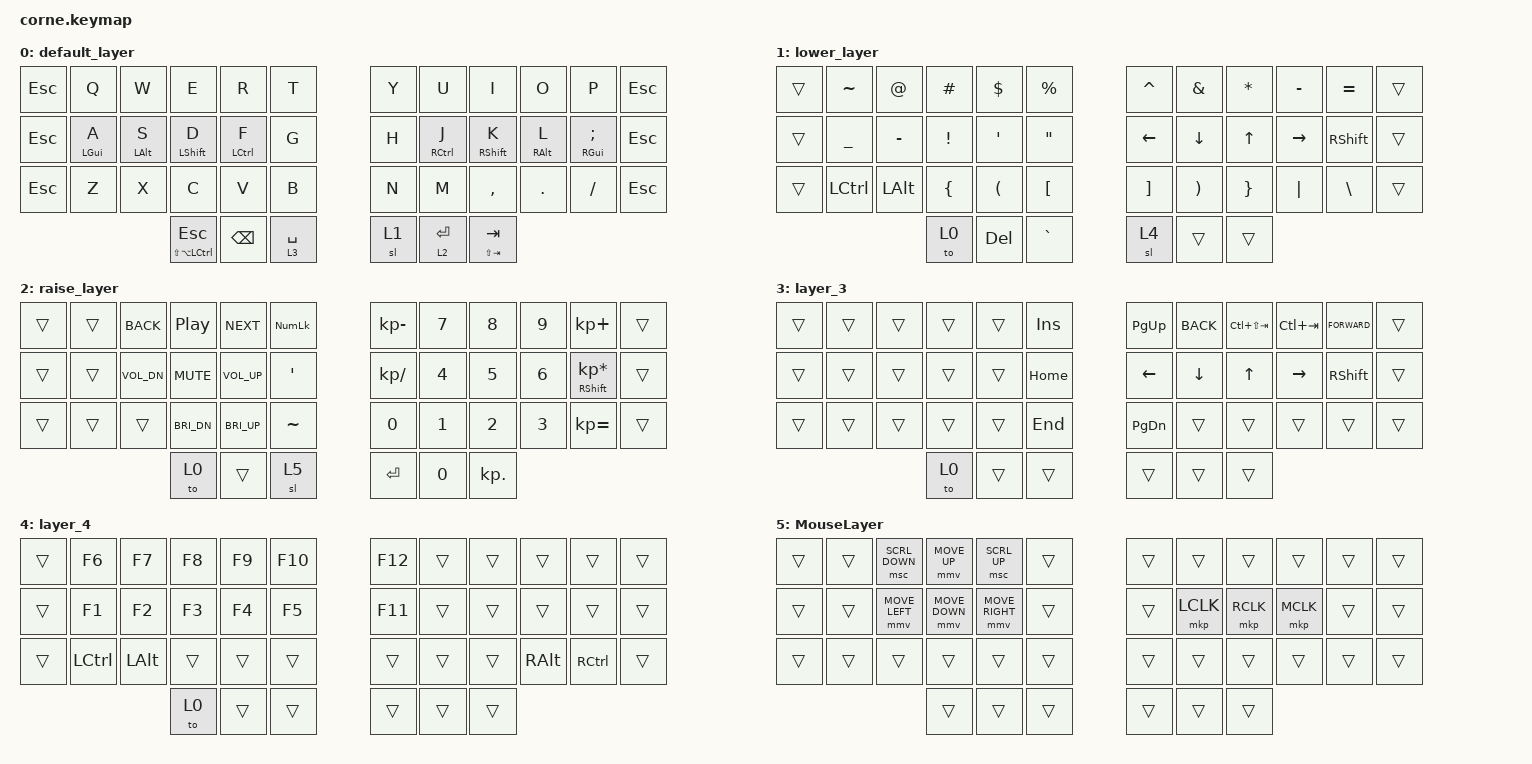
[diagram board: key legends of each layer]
/*
 * Copyright (c) 2020 The ZMK Contributors
 *
 * SPDX-License-Identifier: MIT
 */

#include <behaviors.dtsi>
#include <dt-bindings/zmk/keys.h>
#include <dt-bindings/zmk/pointing.h>

/ {
    behaviors {
        hm: homerow_mods {
            compatible = "zmk,behavior-hold-tap";
            label = "HOMEROW_MODS";
            #binding-cells = <2>;
            tapping-term-ms = <200>;
            quick-tap-ms = <0>;
            flavor = "tap-preferred";
            bindings = <&kp>, <&kp>;
        };
    };

    combos {
        compatible = "zmk,combos";

        EasyEscape {
            bindings = <&kp ESCAPE>;
            key-positions = <13 22>;
        };
    };

    keymap {
        compatible = "zmk,keymap";

        default_layer {
            // -----------------------------------------------------------------------------------------
            // |  TAB |  Q  |  W  |  E  |  R  |  T  |   |  Y  |  U   |  I  |  O  |  P  | BKSP |
            // | CTRL |  A  |  S  |  D  |  F  |  G  |   |  H  |  J   |  K  |  L  |  ;  |  '   |
            // | SHFT |  Z  |  X  |  C  |  V  |  B  |   |  N  |  M   |  ,  |  .  |  /  | ESC  |
            //                    | GUI | LWR | SPC |   | ENT | RSE  | ALT |

            bindings = <
&kp ESCAPE  &kp Q           &kp W           &kp E                            &kp R          &kp T          &kp Y  &kp U        &kp I              &kp O            &kp P                    &kp ESCAPE
&kp ESCAPE  &mt LEFT_GUI A  &mt LEFT_ALT S  &mt LEFT_SHIFT D                 &mt LCTRL F    &kp G          &kp H  &mt RCTRL J  &mt RIGHT_SHIFT K  &mt RIGHT_ALT L  &mt RIGHT_GUI SEMICOLON  &kp ESCAPE
&kp ESCAPE  &kp Z           &kp X           &kp C                            &kp V          &kp B          &kp N  &kp M        &kp COMMA          &kp PERIOD       &kp SLASH                &kp ESC
                                            &mt LS(LA(LEFT_CONTROL)) ESCAPE  &kp BACKSPACE  &lt 3 SPACE    &sl 1  &lt 2 ENTER  &mt LS(TAB) TAB
            >;
        };

        lower_layer {
            // -----------------------------------------------------------------------------------------
            // |  TAB |  1  |  2  |  3  |  4  |  5  |   |  6  |  7  |  8  |  9  |  0  | BKSP |
            // | BTCLR| BT1 | BT2 | BT3 | BT4 | BT5 |   | LFT | DWN |  UP | RGT |     |      |
            // | SHFT |     |     |     |     |     |   |     |     |     |     |     |      |
            //                    | GUI |     | SPC |   | ENT |     | ALT |

            bindings = <
&trans  &kp TILDE       &kp AT_SIGN  &kp HASH         &kp DOLLAR            &kp PERCENT          &kp CARET          &kp AMPERSAND          &kp ASTERISK     &kp MINUS  &kp EQUAL   &trans
&trans  &kp UNDERSCORE  &kp MINUS    &kp EXCLAMATION  &kp SQT               &kp DOUBLE_QUOTES    &kp LEFT           &kp DOWN               &kp UP           &kp RIGHT  &kp RSHIFT  &trans
&trans  &kp LCTRL       &kp LALT     &kp LEFT_BRACE   &kp LEFT_PARENTHESIS  &kp LEFT_BRACKET     &kp RIGHT_BRACKET  &kp RIGHT_PARENTHESIS  &kp RIGHT_BRACE  &kp PIPE   &kp BSLH    &trans
                                     &to 0            &kp DELETE            &kp GRAVE            &sl 4              &trans                 &trans
            >;
        };

        raise_layer {
            // -----------------------------------------------------------------------------------------
            // |  TAB |  !  |  @  |  #  |  $  |  %  |   |  ^  |  &  |  *  |  (  |  )  | BKSP |
            // | CTRL |     |     |     |     |     |   |  -  |  =  |  [  |  ]  |  \  |  `   |
            // | SHFT |     |     |     |     |     |   |  _  |  +  |  {  |  }  | "|" |  ~   |
            //                    | GUI |     | SPC |   | ENT |     | ALT |

            bindings = <
&trans  &trans  &kp K_BACK    &kp C_PP      &kp K_NEXT    &kp KP_NUMLOCK    &kp KP_MINUS  &kp N7  &kp N8      &kp N9  &kp KP_PLUS            &trans
&trans  &trans  &kp C_VOL_DN  &kp K_MUTE    &kp C_VOL_UP  &kp SQT           &kp KP_SLASH  &kp N4  &kp N5      &kp N6  &mt RSHFT KP_ASTERISK  &trans
&trans  &trans  &trans        &kp C_BRI_DN  &kp C_BRI_UP  &kp TILDE         &kp N0        &kp N1  &kp N2      &kp N3  &kp KP_EQUAL           &trans
                              &to 0         &trans        &sl 5             &kp RET       &kp N0  &kp KP_DOT
            >;
        };

        layer_3 {
            bindings = <
&trans  &trans  &trans  &trans  &trans  &kp INS     &kp PG_UP  &kp K_BACK  &kp LC(LS(TAB))  &kp LC(TAB)  &kp K_FORWARD  &trans
&trans  &trans  &trans  &trans  &trans  &kp HOME    &kp LEFT   &kp DOWN    &kp UP           &kp RIGHT    &kp RSHIFT     &trans
&trans  &trans  &trans  &trans  &trans  &kp END     &kp PG_DN  &trans      &trans           &trans       &trans         &trans
                        &to 0   &trans  &trans      &trans     &trans      &trans
            >;
        };

        layer_4 {
            bindings = <
&trans  &kp F6     &kp F7    &kp F8  &kp F9  &kp F10    &kp F12  &trans  &trans  &trans    &trans     &trans
&trans  &kp F1     &kp F2    &kp F3  &kp F4  &kp F5     &kp F11  &trans  &trans  &trans    &trans     &trans
&trans  &kp LCTRL  &kp LALT  &trans  &trans  &trans     &trans   &trans  &trans  &kp RALT  &kp RCTRL  &trans
                             &to 0   &trans  &trans     &trans   &trans  &trans
            >;
        };

        MouseLayer {
            bindings = <
&trans  &trans  &msc SCRL_DOWN  &mmv MOVE_UP    &msc SCRL_UP     &trans    &trans  &trans     &trans     &trans     &trans  &trans
&trans  &trans  &mmv MOVE_LEFT  &mmv MOVE_DOWN  &mmv MOVE_RIGHT  &trans    &trans  &mkp LCLK  &mkp RCLK  &mkp MCLK  &trans  &trans
&trans  &trans  &trans          &trans          &trans           &trans    &trans  &trans     &trans     &trans     &trans  &trans
                                &trans          &trans           &trans    &trans  &trans     &trans
            >;
        };
    };
};
